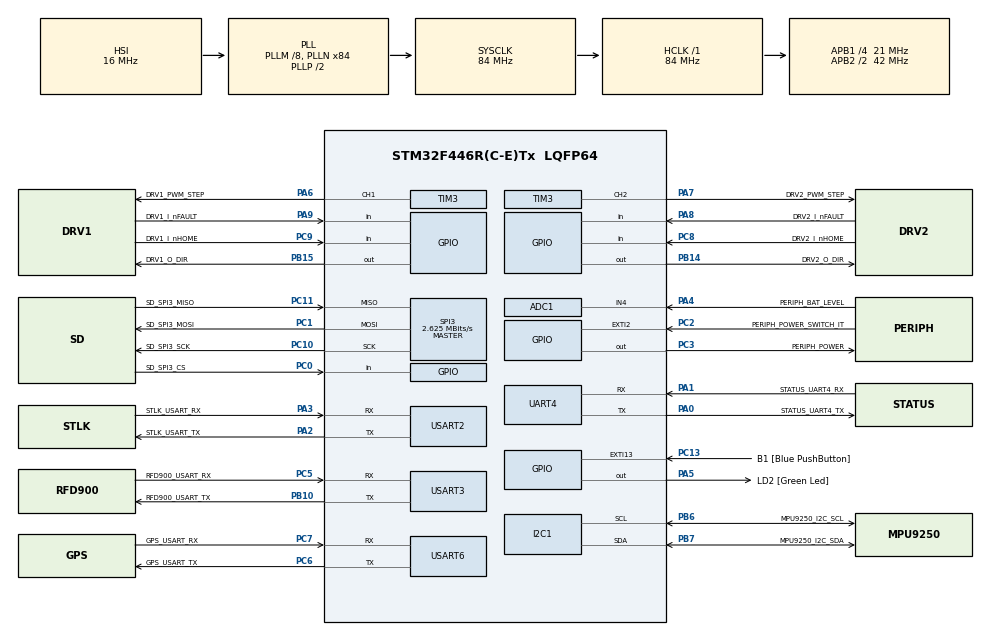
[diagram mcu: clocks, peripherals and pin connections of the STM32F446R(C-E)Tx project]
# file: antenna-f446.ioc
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ADC1.Channel-0\#ChannelRegularConversion=ADC_CHANNEL_4
ADC1.NbrOfConversionFlag=1
ADC1.Rank-0\#ChannelRegularConversion=1
ADC1.SamplingTime-0\#ChannelRegularConversion=ADC_SAMPLETIME_3CYCLES
ADC1.master=1
Dma.Request0=UART4_TX
Dma.UART4_TX.0.Direction=DMA_MEMORY_TO_PERIPH
Dma.UART4_TX.0.FIFOMode=DMA_FIFOMODE_DISABLE
Dma.UART4_TX.0.Instance=DMA1_Stream4
Dma.UART4_TX.0.MemDataAlignment=DMA_MDATAALIGN_BYTE
Dma.UART4_TX.0.MemInc=DMA_MINC_ENABLE
Dma.UART4_TX.0.Mode=DMA_NORMAL
Dma.UART4_TX.0.PeriphDataAlignment=DMA_PDATAALIGN_BYTE
Dma.UART4_TX.0.PeriphInc=DMA_PINC_DISABLE
Dma.UART4_TX.0.Priority=DMA_PRIORITY_LOW
FATFS._CODE_PAGE=850
FATFS._MAX_SS=4096
FATFS._USE_LFN=1
Mcu.Family=STM32F4
Mcu.Name=STM32F446R(C-E)Tx
Mcu.Package=LQFP64
Mcu.UserConstants=__text_tim3info_delay,500
NVIC.ADC_IRQn=true\:0\:1\:true\:false\:true\:true\:true
NVIC.DMA1_Stream4_IRQn=true\:0\:0\:false\:false\:true\:false\:true
NVIC.PriorityGroup=NVIC_PRIORITYGROUP_0
NVIC.TIM6_DAC_IRQn=true\:0\:0\:false\:false\:true\:true\:true
NVIC.TIM7_IRQn=true\:0\:0\:false\:false\:true\:true\:true
NVIC.USART3_IRQn=true\:0\:0\:false\:false\:true\:true\:true
NVIC.USART6_IRQn=true\:0\:0\:false\:false\:true\:true\:true
PA0-WKUP.GPIO_Label=STATUS_UART4_TX
PA0-WKUP.Mode=Asynchronous
PA0-WKUP.Signal=UART4_TX
PA1.GPIO_Label=STATUS_UART4_RX
PA1.Mode=Asynchronous
PA1.Signal=UART4_RX
PA13.GPIO_Label=TMS
PA13.Mode=Serial_Wire
PA13.Signal=SYS_JTMS-SWDIO
PA14.GPIO_Label=TCK
PA14.Mode=Serial_Wire
PA14.Signal=SYS_JTCK-SWCLK
PA2.GPIO_Label=STLK_USART_TX
PA2.Mode=Asynchronous
PA2.Signal=USART2_TX
PA3.GPIO_Label=STLK_USART_RX
PA3.Mode=Asynchronous
PA3.Signal=USART2_RX
PA4.GPIO_Label=PERIPH_BAT_LEVEL
PA4.Signal=ADCx_IN4
PA5.GPIO_Label=LD2 [Green Led]
PA5.Signal=GPIO_Output
PA6.GPIO_Label=DRV1_PWM_STEP
PA6.Signal=S_TIM3_CH1
PA7.GPIO_Label=DRV2_PWM_STEP
PA7.Signal=S_TIM3_CH2
PA8.GPIO_Label=DRV2_I_nFAULT
PA8.Signal=GPIO_Input
PA9.GPIO_Label=DRV1_I_nFAULT
PA9.Signal=GPIO_Input
PB10.GPIO_Label=RFD900_USART_TX
PB10.Mode=Asynchronous
PB10.Signal=USART3_TX
PB14.GPIO_Label=DRV2_O_DIR
PB14.Signal=GPIO_Output
PB15.GPIO_Label=DRV1_O_DIR
PB15.Signal=GPIO_Output
PB3.GPIO_Label=SWO
PB3.Signal=SYS_JTDO-SWO
PB6.GPIO_Label=MPU9250_I2C_SCL
PB6.Mode=I2C
PB6.Signal=I2C1_SCL
PB7.GPIO_Label=MPU9250_I2C_SDA
PB7.Mode=I2C
PB7.Signal=I2C1_SDA
PC0.GPIO_Label=SD_SPI3_CS
PC0.Signal=GPIO_Input
PC1.GPIO_Label=SD_SPI3_MOSI
PC1.Mode=Full_Duplex_Master
PC1.Signal=SPI3_MOSI
PC10.GPIO_Label=SD_SPI3_SCK
PC10.Mode=Full_Duplex_Master
PC10.Signal=SPI3_SCK
PC11.GPIO_Label=SD_SPI3_MISO
PC11.Mode=Full_Duplex_Master
PC11.Signal=SPI3_MISO
PC13.GPIO_Label=B1 [Blue PushButton]
PC13.GPIO_ModeDefaultEXTI=GPIO_MODE_IT_FALLING
PC13.Signal=GPXTI13
PC14-OSC32_IN.Mode=LSE-External-Oscillator
PC14-OSC32_IN.Signal=RCC_OSC32_IN
PC15-OSC32_OUT.Mode=LSE-External-Oscillator
PC15-OSC32_OUT.Signal=RCC_OSC32_OUT
PC2.GPIO_Label=PERIPH_POWER_SWITCH_IT
PC2.GPIO_PuPd=GPIO_PULLDOWN
PC2.Signal=GPXTI2
PC3.GPIO_Label=PERIPH_POWER
PC3.Signal=GPIO_Output
PC5.GPIO_Label=RFD900_USART_RX
PC5.Mode=Asynchronous
PC5.Signal=USART3_RX
PC6.GPIO_Label=GPS_USART_TX
PC6.Mode=Asynchronous
PC6.Signal=USART6_TX
PC7.GPIO_Label=GPS_USART_RX
PC7.Mode=Asynchronous
PC7.Signal=USART6_RX
PC8.GPIO_Label=DRV2_I_nHOME
PC8.Signal=GPIO_Input
PC9.GPIO_Label=DRV1_I_nHOME
PC9.Signal=GPIO_Input
PH0-OSC_IN.Mode=HSE-External-Oscillator
PH0-OSC_IN.Signal=RCC_OSC_IN
PH1-OSC_OUT.Mode=HSE-External-Oscillator
PH1-OSC_OUT.Signal=RCC_OSC_OUT
ProjectManager.HeapSize=0x200
ProjectManager.StackSize=0x400
ProjectManager.TargetToolchain=SW4STM32
RCC.48MHZClocksFreq_Value=84000000
RCC.AHBFreq_Value=84000000
RCC.APB1CLKDivider=RCC_HCLK_DIV4
RCC.APB1Freq_Value=21000000
RCC.APB1TimFreq_Value=42000000
RCC.APB2CLKDivider=RCC_HCLK_DIV2
RCC.APB2Freq_Value=42000000
RCC.APB2TimFreq_Value=84000000
RCC.CortexFreq_Value=84000000
RCC.FLatency-AdvancedSettings=FLASH_LATENCY_2
RCC.HCLKFreq_Value=84000000
RCC.HSE_VALUE=8000000
RCC.HSI_VALUE=16000000
RCC.PLLM=8
RCC.PLLN=84
RCC.SYSCLKFreq_VALUE=84000000
RCC.SYSCLKSource=RCC_SYSCLKSOURCE_PLLCLK
RCC.USBFreq_Value=84000000
RCC.VCOOutputFreq_Value=168000000
SH.ADCx_IN4.0=ADC1_IN4,IN4
SH.S_TIM3_CH1.0=TIM3_CH1,PWM Generation1 CH1
SH.S_TIM3_CH2.0=TIM3_CH2,PWM Generation2 CH2
SPI3.BaudRatePrescaler=SPI_BAUDRATEPRESCALER_8
SPI3.CalculateBaudRate=2.625 MBits/s
SPI3.Direction=SPI_DIRECTION_2LINES
SPI3.Mode=SPI_MODE_MASTER
SPI3.VirtualType=VM_MASTER
TIM3.Channel-PWM\ Generation1\ CH1=TIM_CHANNEL_1
TIM3.Channel-PWM\ Generation2\ CH2=TIM_CHANNEL_2
TIM3.Period=13125
TIM3.Prescaler=1
TIM3.Pulse-PWM\ Generation1\ CH1=6563
TIM3.Pulse-PWM\ Generation2\ CH2=6563
TIM3.TIM_MasterOutputTrigger=TIM_TRGO_RESET
TIM6.Period=58334
TIM6.Prescaler=4
TIM7.Period=65523
TIM7.Prescaler=1282
UART4.VirtualMode=Asynchronous
USART2.VirtualMode=VM_ASYNC
USART3.VirtualMode=VM_ASYNC
USART6.VirtualMode=VM_ASYNC
VP_FATFS_VS_Generic.Mode=User_defined
VP_TIM3_VS_ClockSourceINT.Mode=Internal
VP_TIM6_VS_ClockSourceINT.Mode=Enable_Timer
VP_TIM7_VS_ClockSourceINT.Mode=Enable_Timer
board=NUCLEO-F446RE

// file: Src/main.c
/* USER CODE BEGIN Header */
/**
  ******************************************************************************
  * @file           : main.c
  * @brief          : Main program body
  ******************************************************************************
  * @attention
  *
  * <h2><center>&copy; Copyright (c) 2020 STMicroelectronics.
  * All rights reserved.</center></h2>
  *
  * This software component is licensed by ST under BSD 3-Clause license,
  * the "License"; You may not use this file except in compliance with the
  * License. You may obtain a copy of the License at:
  *                        opensource.org/licenses/BSD-3-Clause
  *
  ******************************************************************************
  */
/* USER CODE END Header */

#include "main.h"
#include "fatfs.h"

/* USER CODE BEGIN Includes */
#include "nmea0183_decode.h"
/* USER CODE END Includes */

ADC_HandleTypeDef hadc1;

I2C_HandleTypeDef hi2c1;

SPI_HandleTypeDef hspi3;

TIM_HandleTypeDef htim3;
TIM_HandleTypeDef htim6;
TIM_HandleTypeDef htim7;

UART_HandleTypeDef huart4;
UART_HandleTypeDef huart2;
UART_HandleTypeDef huart3;
UART_HandleTypeDef huart6;
DMA_HandleTypeDef hdma_uart4_tx;

/* USER CODE BEGIN PV */
volatile uint8_t UART3_RX_buffer1[UART_RX_BUF_LEN];
volatile uint8_t UART3_RX_buffer2[UART_RX_BUF_LEN];
volatile uint8_t UART6_RX_buffer1[UART_RX_BUF_LEN];
volatile uint8_t UART6_RX_buffer2[UART_RX_BUF_LEN];
volatile uint8_t *UART3_RX_recvbuf = UART3_RX_buffer1;
volatile uint8_t *UART3_RX_processbuf = UART3_RX_buffer2;
volatile uint8_t *UART6_RX_recvbuf = UART6_RX_buffer1;
volatile uint8_t *UART6_RX_processbuf = UART6_RX_buffer2;
volatile uint8_t UART3_request_process = 0;
volatile uint8_t UART6_request_process = 0;
volatile NMEAObject *antenna_pos;
volatile NMEAObject *probe_pos;
volatile uint8_t TIM7_request_pos_adjustment = 0;

/* USER CODE END PV */

void SystemClock_Config(void);
static void MX_GPIO_Init(void);
static void MX_DMA_Init(void);
static void MX_ADC1_Init(void);
static void MX_I2C1_Init(void);
static void MX_SPI3_Init(void);
static void MX_UART4_Init(void);
static void MX_USART2_UART_Init(void);
static void MX_USART3_UART_Init(void);
static void MX_USART6_UART_Init(void);
static void MX_TIM3_Init(void);
static void MX_TIM6_Init(void);
static void MX_TIM7_Init(void);
/* USER CODE BEGIN PFP */
static void process_nmea_sentence(const char* sentence, NMEAObject **object);
static void process_pos_adjustment();
/* USER CODE END PFP */

int main(void)
{

  /* MCU Configuration--------------------------------------------------------*/

  /* Reset of all peripherals, Initializes the Flash interface and the Systick. */
  HAL_Init();

  /* Configure the system clock */
  SystemClock_Config();

  /* Initialize all configured peripherals */
  MX_GPIO_Init();
  MX_DMA_Init();
  MX_ADC1_Init();
  MX_I2C1_Init();
  MX_SPI3_Init();
  MX_UART4_Init();
  MX_USART2_UART_Init();
  MX_USART3_UART_Init();
  MX_USART6_UART_Init();
  MX_TIM3_Init();
  MX_FATFS_Init();
  MX_TIM6_Init();
  MX_TIM7_Init();
  /* USER CODE BEGIN 2 */
  HAL_TIM_Base_Start(&htim7);
  /* USER CODE END 2 */

  /* Infinite loop */
  /* USER CODE BEGIN WHILE */
#pragma clang diagnostic push
#pragma clang diagnostic ignored "-Wmissing-noreturn"
  while (1)
  {
    /* USER CODE END WHILE */

    /* USER CODE BEGIN 3 */
      if (UART3_request_process)
      {
          process_nmea_sentence((const char *)UART3_RX_processbuf, (NMEAObject **)&probe_pos);
          UART3_request_process = 0;
      }

      if (UART6_request_process)
      {
          process_nmea_sentence((const char *)UART6_RX_processbuf, (NMEAObject **)&antenna_pos);
          UART6_request_process = 0;
      }

      if (TIM7_request_pos_adjustment)
      {
          process_pos_adjustment();
          TIM7_request_pos_adjustment = 0;
      }

  }
#pragma clang diagnostic pop
  /* USER CODE END 3 */
}

void SystemClock_Config(void)
{
  RCC_OscInitTypeDef RCC_OscInitStruct = {0};
  RCC_ClkInitTypeDef RCC_ClkInitStruct = {0};

  /** Configure the main internal regulator output voltage
  */
  __HAL_RCC_PWR_CLK_ENABLE();
  __HAL_PWR_VOLTAGESCALING_CONFIG(PWR_REGULATOR_VOLTAGE_SCALE3);
  /** Initializes the CPU, AHB and APB busses clocks
  */
  RCC_OscInitStruct.OscillatorType = RCC_OSCILLATORTYPE_HSI;
  RCC_OscInitStruct.HSIState = RCC_HSI_ON;
  RCC_OscInitStruct.HSICalibrationValue = RCC_HSICALIBRATION_DEFAULT;
  RCC_OscInitStruct.PLL.PLLState = RCC_PLL_ON;
  RCC_OscInitStruct.PLL.PLLSource = RCC_PLLSOURCE_HSI;
  RCC_OscInitStruct.PLL.PLLM = 8;
  RCC_OscInitStruct.PLL.PLLN = 84;
  RCC_OscInitStruct.PLL.PLLP = RCC_PLLP_DIV2;
  RCC_OscInitStruct.PLL.PLLQ = 2;
  RCC_OscInitStruct.PLL.PLLR = 2;
  if (HAL_RCC_OscConfig(&RCC_OscInitStruct) != HAL_OK)
  {
    Error_Handler();
  }
  /** Initializes the CPU, AHB and APB busses clocks
  */
  RCC_ClkInitStruct.ClockType = RCC_CLOCKTYPE_HCLK|RCC_CLOCKTYPE_SYSCLK
                              |RCC_CLOCKTYPE_PCLK1|RCC_CLOCKTYPE_PCLK2;
  RCC_ClkInitStruct.SYSCLKSource = RCC_SYSCLKSOURCE_PLLCLK;
  RCC_ClkInitStruct.AHBCLKDivider = RCC_SYSCLK_DIV1;
  RCC_ClkInitStruct.APB1CLKDivider = RCC_HCLK_DIV4;
  RCC_ClkInitStruct.APB2CLKDivider = RCC_HCLK_DIV2;

  if (HAL_RCC_ClockConfig(&RCC_ClkInitStruct, FLASH_LATENCY_2) != HAL_OK)
  {
    Error_Handler();
  }
}

static void MX_ADC1_Init(void)
{

  ADC_ChannelConfTypeDef sConfig = {0};

  /** Configure the global features of the ADC (Clock, Resolution, Data Alignment and number of conversion)
  */
  hadc1.Instance = ADC1;
  hadc1.Init.ClockPrescaler = ADC_CLOCK_SYNC_PCLK_DIV2;
  hadc1.Init.Resolution = ADC_RESOLUTION_12B;
  hadc1.Init.ScanConvMode = DISABLE;
  hadc1.Init.ContinuousConvMode = DISABLE;
  hadc1.Init.DiscontinuousConvMode = DISABLE;
  hadc1.Init.ExternalTrigConvEdge = ADC_EXTERNALTRIGCONVEDGE_NONE;
  hadc1.Init.ExternalTrigConv = ADC_SOFTWARE_START;
  hadc1.Init.DataAlign = ADC_DATAALIGN_RIGHT;
  hadc1.Init.NbrOfConversion = 1;
  hadc1.Init.DMAContinuousRequests = DISABLE;
  hadc1.Init.EOCSelection = ADC_EOC_SINGLE_CONV;
  if (HAL_ADC_Init(&hadc1) != HAL_OK)
  {
    Error_Handler();
  }
  /** Configure for the selected ADC regular channel its corresponding rank in the sequencer and its sample time.
  */
  sConfig.Channel = ADC_CHANNEL_4;
  sConfig.Rank = 1;
  sConfig.SamplingTime = ADC_SAMPLETIME_3CYCLES;
  if (HAL_ADC_ConfigChannel(&hadc1, &sConfig) != HAL_OK)
  {
    Error_Handler();
  }

}

static void MX_I2C1_Init(void)
{

  hi2c1.Instance = I2C1;
  hi2c1.Init.ClockSpeed = 100000;
  hi2c1.Init.DutyCycle = I2C_DUTYCYCLE_2;
  hi2c1.Init.OwnAddress1 = 0;
  hi2c1.Init.AddressingMode = I2C_ADDRESSINGMODE_7BIT;
  hi2c1.Init.DualAddressMode = I2C_DUALADDRESS_DISABLE;
  hi2c1.Init.OwnAddress2 = 0;
  hi2c1.Init.GeneralCallMode = I2C_GENERALCALL_DISABLE;
  hi2c1.Init.NoStretchMode = I2C_NOSTRETCH_DISABLE;
  if (HAL_I2C_Init(&hi2c1) != HAL_OK)
  {
    Error_Handler();
  }

}

static void MX_SPI3_Init(void)
{

  /* SPI3 parameter configuration*/
  hspi3.Instance = SPI3;
  hspi3.Init.Mode = SPI_MODE_MASTER;
  hspi3.Init.Direction = SPI_DIRECTION_2LINES;
  hspi3.Init.DataSize = SPI_DATASIZE_8BIT;
  hspi3.Init.CLKPolarity = SPI_POLARITY_LOW;
  hspi3.Init.CLKPhase = SPI_PHASE_1EDGE;
  hspi3.Init.NSS = SPI_NSS_SOFT;
  hspi3.Init.BaudRatePrescaler = SPI_BAUDRATEPRESCALER_8;
  hspi3.Init.FirstBit = SPI_FIRSTBIT_MSB;
  hspi3.Init.TIMode = SPI_TIMODE_DISABLE;
  hspi3.Init.CRCCalculation = SPI_CRCCALCULATION_DISABLE;
  hspi3.Init.CRCPolynomial = 10;
  if (HAL_SPI_Init(&hspi3) != HAL_OK)
  {
    Error_Handler();
  }

}

static void MX_TIM3_Init(void)
{

  TIM_ClockConfigTypeDef sClockSourceConfig = {0};
  TIM_MasterConfigTypeDef sMasterConfig = {0};
  TIM_OC_InitTypeDef sConfigOC = {0};

  htim3.Instance = TIM3;
  htim3.Init.Prescaler = 1;
  htim3.Init.CounterMode = TIM_COUNTERMODE_UP;
  htim3.Init.Period = 13125;
  htim3.Init.ClockDivision = TIM_CLOCKDIVISION_DIV1;
  htim3.Init.AutoReloadPreload = TIM_AUTORELOAD_PRELOAD_DISABLE;
  if (HAL_TIM_Base_Init(&htim3) != HAL_OK)
  {
    Error_Handler();
  }
  sClockSourceConfig.ClockSource = TIM_CLOCKSOURCE_INTERNAL;
  if (HAL_TIM_ConfigClockSource(&htim3, &sClockSourceConfig) != HAL_OK)
  {
    Error_Handler();
  }
  if (HAL_TIM_PWM_Init(&htim3) != HAL_OK)
  {
    Error_Handler();
  }
  sMasterConfig.MasterOutputTrigger = TIM_TRGO_RESET;
  sMasterConfig.MasterSlaveMode = TIM_MASTERSLAVEMODE_DISABLE;
  if (HAL_TIMEx_MasterConfigSynchronization(&htim3, &sMasterConfig) != HAL_OK)
  {
    Error_Handler();
  }
  sConfigOC.OCMode = TIM_OCMODE_PWM1;
  sConfigOC.Pulse = 6563;
  sConfigOC.OCPolarity = TIM_OCPOLARITY_HIGH;
  sConfigOC.OCFastMode = TIM_OCFAST_DISABLE;
  if (HAL_TIM_PWM_ConfigChannel(&htim3, &sConfigOC, TIM_CHANNEL_1) != HAL_OK)
  {
    Error_Handler();
  }
  if (HAL_TIM_PWM_ConfigChannel(&htim3, &sConfigOC, TIM_CHANNEL_2) != HAL_OK)
  {
    Error_Handler();
  }
  HAL_TIM_MspPostInit(&htim3);

}

static void MX_TIM6_Init(void)
{

  TIM_MasterConfigTypeDef sMasterConfig = {0};

  htim6.Instance = TIM6;
  htim6.Init.Prescaler = 4;
  htim6.Init.CounterMode = TIM_COUNTERMODE_UP;
  htim6.Init.Period = 58334;
  htim6.Init.AutoReloadPreload = TIM_AUTORELOAD_PRELOAD_DISABLE;
  if (HAL_TIM_Base_Init(&htim6) != HAL_OK)
  {
    Error_Handler();
  }
  sMasterConfig.MasterOutputTrigger = TIM_TRGO_RESET;
  sMasterConfig.MasterSlaveMode = TIM_MASTERSLAVEMODE_DISABLE;
  if (HAL_TIMEx_MasterConfigSynchronization(&htim6, &sMasterConfig) != HAL_OK)
  {
    Error_Handler();
  }

}

static void MX_TIM7_Init(void)
{

  TIM_MasterConfigTypeDef sMasterConfig = {0};

  htim7.Instance = TIM7;
  htim7.Init.Prescaler = 1282;
  htim7.Init.CounterMode = TIM_COUNTERMODE_UP;
  htim7.Init.Period = 65523;
  htim7.Init.AutoReloadPreload = TIM_AUTORELOAD_PRELOAD_DISABLE;
  if (HAL_TIM_Base_Init(&htim7) != HAL_OK)
  {
    Error_Handler();
  }
  sMasterConfig.MasterOutputTrigger = TIM_TRGO_RESET;
  sMasterConfig.MasterSlaveMode = TIM_MASTERSLAVEMODE_DISABLE;
  if (HAL_TIMEx_MasterConfigSynchronization(&htim7, &sMasterConfig) != HAL_OK)
  {
    Error_Handler();
  }

}

static void MX_UART4_Init(void)
{

  huart4.Instance = UART4;
  huart4.Init.BaudRate = 115200;
  huart4.Init.WordLength = UART_WORDLENGTH_8B;
  huart4.Init.StopBits = UART_STOPBITS_1;
  huart4.Init.Parity = UART_PARITY_NONE;
  huart4.Init.Mode = UART_MODE_TX_RX;
  huart4.Init.HwFlowCtl = UART_HWCONTROL_NONE;
  huart4.Init.OverSampling = UART_OVERSAMPLING_16;
  if (HAL_UART_Init(&huart4) != HAL_OK)
  {
    Error_Handler();
  }

}

static void MX_USART2_UART_Init(void)
{

  huart2.Instance = USART2;
  huart2.Init.BaudRate = 115200;
  huart2.Init.WordLength = UART_WORDLENGTH_8B;
  huart2.Init.StopBits = UART_STOPBITS_1;
  huart2.Init.Parity = UART_PARITY_NONE;
  huart2.Init.Mode = UART_MODE_TX_RX;
  huart2.Init.HwFlowCtl = UART_HWCONTROL_NONE;
  huart2.Init.OverSampling = UART_OVERSAMPLING_16;
  if (HAL_UART_Init(&huart2) != HAL_OK)
  {
    Error_Handler();
  }

}

static void MX_USART3_UART_Init(void)
{

  huart3.Instance = USART3;
  huart3.Init.BaudRate = 115200;
  huart3.Init.WordLength = UART_WORDLENGTH_8B;
  huart3.Init.StopBits = UART_STOPBITS_1;
  huart3.Init.Parity = UART_PARITY_NONE;
  huart3.Init.Mode = UART_MODE_TX_RX;
  huart3.Init.HwFlowCtl = UART_HWCONTROL_NONE;
  huart3.Init.OverSampling = UART_OVERSAMPLING_16;
  if (HAL_UART_Init(&huart3) != HAL_OK)
  {
    Error_Handler();
  }

}

static void MX_USART6_UART_Init(void)
{

  huart6.Instance = USART6;
  huart6.Init.BaudRate = 115200;
  huart6.Init.WordLength = UART_WORDLENGTH_8B;
  huart6.Init.StopBits = UART_STOPBITS_1;
  huart6.Init.Parity = UART_PARITY_NONE;
  huart6.Init.Mode = UART_MODE_TX_RX;
  huart6.Init.HwFlowCtl = UART_HWCONTROL_NONE;
  huart6.Init.OverSampling = UART_OVERSAMPLING_16;
  if (HAL_UART_Init(&huart6) != HAL_OK)
  {
    Error_Handler();
  }

}

static void MX_DMA_Init(void)
{

  /* DMA controller clock enable */
  __HAL_RCC_DMA1_CLK_ENABLE();

  /* DMA interrupt init */
  /* DMA1_Stream4_IRQn interrupt configuration */
  HAL_NVIC_SetPriority(DMA1_Stream4_IRQn, 0, 0);
  HAL_NVIC_EnableIRQ(DMA1_Stream4_IRQn);

}

static void MX_GPIO_Init(void)
{
  GPIO_InitTypeDef GPIO_InitStruct = {0};

  /* GPIO Ports Clock Enable */
  __HAL_RCC_GPIOC_CLK_ENABLE();
  __HAL_RCC_GPIOH_CLK_ENABLE();
  __HAL_RCC_GPIOA_CLK_ENABLE();
  __HAL_RCC_GPIOB_CLK_ENABLE();

  /*Configure GPIO pin Output Level */
  HAL_GPIO_WritePin(PERIPH_POWER_GPIO_Port, PERIPH_POWER_Pin, GPIO_PIN_RESET);

  /*Configure GPIO pin Output Level */
  HAL_GPIO_WritePin(LD2_GPIO_Port, LD2_Pin, GPIO_PIN_RESET);

  /*Configure GPIO pin Output Level */
  HAL_GPIO_WritePin(GPIOB, DRV2_O_DIR_Pin|DRV1_O_DIR_Pin, GPIO_PIN_RESET);

  /*Configure GPIO pin : B1_Pin */
  GPIO_InitStruct.Pin = B1_Pin;
  GPIO_InitStruct.Mode = GPIO_MODE_IT_FALLING;
  GPIO_InitStruct.Pull = GPIO_NOPULL;
  HAL_GPIO_Init(B1_GPIO_Port, &GPIO_InitStruct);

  /*Configure GPIO pins : SD_SPI3_CS_Pin DRV2_I_nHOME_Pin DRV1_I_nHOME_Pin */
  GPIO_InitStruct.Pin = SD_SPI3_CS_Pin|DRV2_I_nHOME_Pin|DRV1_I_nHOME_Pin;
  GPIO_InitStruct.Mode = GPIO_MODE_INPUT;
  GPIO_InitStruct.Pull = GPIO_NOPULL;
  HAL_GPIO_Init(GPIOC, &GPIO_InitStruct);

  /*Configure GPIO pin : PERIPH_POWER_SWITCH_IT_Pin */
  GPIO_InitStruct.Pin = PERIPH_POWER_SWITCH_IT_Pin;
  GPIO_InitStruct.Mode = GPIO_MODE_IT_RISING;
  GPIO_InitStruct.Pull = GPIO_PULLDOWN;
  HAL_GPIO_Init(PERIPH_POWER_SWITCH_IT_GPIO_Port, &GPIO_InitStruct);

  /*Configure GPIO pin : PERIPH_POWER_Pin */
  GPIO_InitStruct.Pin = PERIPH_POWER_Pin;
  GPIO_InitStruct.Mode = GPIO_MODE_OUTPUT_PP;
  GPIO_InitStruct.Pull = GPIO_NOPULL;
  GPIO_InitStruct.Speed = GPIO_SPEED_FREQ_LOW;
  HAL_GPIO_Init(PERIPH_POWER_GPIO_Port, &GPIO_InitStruct);

  /*Configure GPIO pin : LD2_Pin */
  GPIO_InitStruct.Pin = LD2_Pin;
  GPIO_InitStruct.Mode = GPIO_MODE_OUTPUT_PP;
  GPIO_InitStruct.Pull = GPIO_NOPULL;
  GPIO_InitStruct.Speed = GPIO_SPEED_FREQ_LOW;
  HAL_GPIO_Init(LD2_GPIO_Port, &GPIO_InitStruct);

  /*Configure GPIO pins : DRV2_O_DIR_Pin DRV1_O_DIR_Pin */
  GPIO_InitStruct.Pin = DRV2_O_DIR_Pin|DRV1_O_DIR_Pin;
  GPIO_InitStruct.Mode = GPIO_MODE_OUTPUT_PP;
  GPIO_InitStruct.Pull = GPIO_NOPULL;
  GPIO_InitStruct.Speed = GPIO_SPEED_FREQ_LOW;
  HAL_GPIO_Init(GPIOB, &GPIO_InitStruct);

  /*Configure GPIO pins : DRV2_I_nFAULT_Pin DRV1_I_nFAULT_Pin */
  GPIO_InitStruct.Pin = DRV2_I_nFAULT_Pin|DRV1_I_nFAULT_Pin;
  GPIO_InitStruct.Mode = GPIO_MODE_INPUT;
  GPIO_InitStruct.Pull = GPIO_NOPULL;
  HAL_GPIO_Init(GPIOA, &GPIO_InitStruct);

}

/* USER CODE BEGIN 4 */
static void process_nmea_sentence(const char* sentence, NMEAObject **object)
{
    NMEAObject *new_obj = (NMEAObject *)malloc(sizeof(NMEAObject));
    NMEA_decode(sentence, new_obj, 1);
    NMEAObject *tmp = *object;
    *object = new_obj;
    NMEA_free_obj(tmp);
}

void HAL_TIM_PeriodElapsedCallback(TIM_HandleTypeDef *htim)
{
    if (htim->Instance == htim7.Instance)
        TIM7_request_pos_adjustment = 1;

}

static void process_pos_adjustment()
{
    // TODO: implement pos adjustment
}

/* USER CODE END 4 */

void Error_Handler(void)
{
}

/************************ (C) COPYRIGHT STMicroelectronics *****END OF FILE****/
